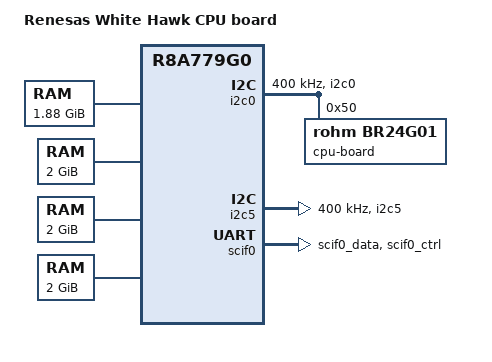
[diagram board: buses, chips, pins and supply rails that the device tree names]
// SPDX-License-Identifier: GPL-2.0
/*
 * Device Tree Source for the White Hawk CPU board
 *
 * Copyright (C) 2021 Renesas Electronics Corp.
 */

#include <dt-bindings/gpio/gpio.h>
#include <dt-bindings/input/input.h>

#include "r8a779g0.dtsi"

/ {
	model = "Renesas White Hawk CPU board";
	compatible = "renesas,whitehawk-cpu", "renesas,r8a779g0";

	aliases {
		serial0 = &scif0;
	};

	chosen {
		stdout-path = "serial0:115200n8";
	};

	memory@48000000 {
		device_type = "memory";
		/* first 128MB is reserved for secure area. */
		reg = <0x0 0x48000000 0x0 0x78000000>;
	};

	memory@500000000 {
		device_type = "memory";
		reg = <0x5 0x00000000 0x0 0x80000000>;
	};

	memory@600000000 {
		device_type = "memory";
		reg = <0x6 0x00000000 0x0 0x80000000>;
	};

	memory@700000000 {
		device_type = "memory";
		reg = <0x7 0x00000000 0x0 0x80000000>;
	};
};

&extal_clk {
	clock-frequency = <16666666>;
};

&extalr_clk {
	clock-frequency = <32768>;
};

&i2c0 {
	pinctrl-0 = <&i2c0_pins>;
	pinctrl-names = "default";

	status = "okay";
	clock-frequency = <400000>;

	eeprom@50 {
		compatible = "rohm,br24g01", "atmel,24c01";
		label = "cpu-board";
		reg = <0x50>;
		pagesize = <8>;
	};
};

&i2c5 {
	pinctrl-0 = <&i2c5_pins>;
	pinctrl-names = "default";

	status = "okay";
	clock-frequency = <400000>;
};

&pfc {
	pinctrl-0 = <&scif_clk_pins>;
	pinctrl-names = "default";

	i2c0_pins: i2c0 {
		groups = "i2c0";
		function = "i2c0";
	};

	i2c5_pins: i2c5 {
		groups = "i2c5";
		function = "i2c5";
	};

	scif0_pins: scif0 {
		groups = "scif0_data", "scif0_ctrl";
		function = "scif0";
	};

	hscif0_pins: hscif0 {
		groups = "hscif0_data", "hscif0_ctrl";
		function = "hscif0";
	};

	scif_clk_pins: scif_clk {
		groups = "scif_clk";
		function = "scif_clk";
	};
};

&scif_clk {
	clock-frequency = <24000000>;
};

&scif0 {
	pinctrl-0 = <&scif0_pins>;
	pinctrl-names = "default";

	uart-has-rtscts;
	/* Please use exclusively to the hscif0 node */
	status = "okay";
};

&hscif0 {
	pinctrl-0 = <&hscif0_pins>;
	pinctrl-names = "default";

	uart-has-rtscts;
	/* Please use exclusively to the scif0 node */
	status = "disabled";
};
